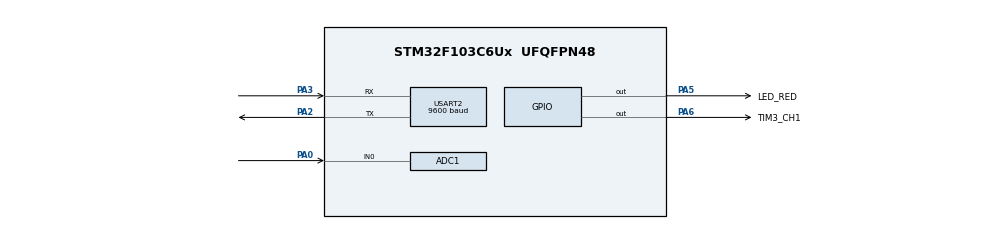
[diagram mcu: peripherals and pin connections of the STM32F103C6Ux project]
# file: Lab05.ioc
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ADC1.Channel-0\#ChannelRegularConversion=ADC_CHANNEL_0
ADC1.ContinuousConvMode=ENABLE
ADC1.NbrOfConversionFlag=1
ADC1.Rank-0\#ChannelRegularConversion=1
ADC1.SamplingTime-0\#ChannelRegularConversion=ADC_SAMPLETIME_1CYCLE_5
ADC1.master=1
Mcu.Family=STM32F1
Mcu.Name=STM32F103C6Ux
Mcu.Package=UFQFPN48
NVIC.PriorityGroup=NVIC_PRIORITYGROUP_4
NVIC.USART2_IRQn=true\:0\:0\:false\:false\:true\:true\:true
PA0-WKUP.Signal=ADCx_IN0
PA2.Mode=Asynchronous
PA2.Signal=USART2_TX
PA3.Mode=Asynchronous
PA3.Signal=USART2_RX
PA5.GPIO_Label=LED_RED
PA5.Signal=GPIO_Output
PA6.GPIO_Label=TIM3_CH1
PA6.Signal=GPIO_Output
ProjectManager.HeapSize=0x200
ProjectManager.StackSize=0x400
ProjectManager.TargetToolchain=STM32CubeIDE
RCC.APB1Freq_Value=8000000
RCC.APB2Freq_Value=8000000
SH.ADCx_IN0.0=ADC1_IN0,IN0
USART2.BaudRate=9600
USART2.VirtualMode=VM_ASYNC
VP_SYS_VS_ND.Mode=No_Debug
board=custom

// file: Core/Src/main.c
/* USER CODE BEGIN Header */
/**
  ******************************************************************************
  * @file           : main.c
  * @brief          : Main program body
  ******************************************************************************
  * @attention
  *
  * <h2><center>&copy; Copyright (c) 2023 STMicroelectronics.
  * All rights reserved.</center></h2>
  *
  * This software component is licensed by ST under BSD 3-Clause license,
  * the "License"; You may not use this file except in compliance with the
  * License. You may obtain a copy of the License at:
  *                        opensource.org/licenses/BSD-3-Clause
  *
  ******************************************************************************
  */
/* USER CODE END Header */
#include "main.h"

ADC_HandleTypeDef hadc1;

UART_HandleTypeDef huart2;

void SystemClock_Config(void);
static void MX_GPIO_Init(void);
static void MX_ADC1_Init(void);
static void MX_USART2_UART_Init(void);

/* USER CODE BEGIN 0 */
#define  MAX_BUFFER_SIZE 30
uint8_t temp = 0;
uint8_t buffer[MAX_BUFFER_SIZE];
uint8_t index_buffer = 0;
uint8_t buffer_flag = 0;

void HAL_UART_RxCPltCallback(UART_HandleTypeDef *huart){
	if(huart -> Instance == USART2){
		HAL_UART_Transmit(&huart2, &temp, 1, 50);
		buffer[index_buffer++] = temp;
		if(index_buffer == MAX_BUFFER_SIZE) index_buffer = 0;
		buffer_flag = 1;
		HAL_UART_Receive_IT(&huart2, &temp, 1);
	}
}

uint8_t str[20];
uint32_t ADC_value = 1234;
// init state for fsm command_parser_fsm1
uint8_t start_state = INIT;
// init state for fsm command_parser_fsm2
uint8_t end_state = INIT;
// init state for fsm uart_communiation_fsm
uint8_t status_communication = INIT;
//Check !RST# message
void command_parser_fsm1(){
	uint8_t index = index_buffer;
	if(index_buffer == 0) index = MAX_BUFFER_SIZE - 1;
	if(index_buffer != 0) index = index_buffer - 1;
	switch (start_state){
		case INIT:
			if(buffer[index] == '!') start_state = _;
			break;
		case _:
			if(buffer[index] = '!') start_state = _;
			if(buffer[index] == 'R') start_state =_R;
			if(buffer[index]!='!'&&buffer[index]!='R') start_state=INIT;
			break;
		case _R:
			if(buffer[index] == 'S') start_state =_RS;
			if(buffer[index] = '!') start_state = _;
			if(buffer[index]!='!'&&buffer[index]!='S') start_state=INIT;
			break;
		case _RS:
			if(buffer[index] == 'T') start_state =_RST;
			if(buffer[index] = '!') start_state = _;
			if(buffer[index]!='!'&&buffer[index]!='T') start_state=INIT;
			break;
		case _RST:
			if(buffer[index] == '#') {
				start_state =_RST_;
				status_communication=SEND;
			}
			if(buffer[index] = '!') start_state = _;
			if(buffer[index]!='!'&&buffer[index]!='#') start_state=INIT;
			break;
		case _RST_:
			if(buffer[index]=='!') start_state=_;
			if(buffer[index]!='!') start_state=INIT;
			break;
		default:
			break;
	}

}
//Check !OK# message
void  command_parser_fsm2(){
	uint8_t index2;
	if(index_buffer == 0) index2 = MAX_BUFFER_SIZE - 1;
	if(index_buffer != 0) index2 = index_buffer - 1;
	switch(end_state){
		case INIT:
			if(buffer[index2] == '!') end_state = _;
			break;
		case _:
			if(buffer[index2]=='!') end_state=_;
			else if(buffer[index2]=='O') end_state=_O;
			else end_state=INIT;
			break;
		case _O:
			if(buffer[index2]=='K') end_state=_OK;
			if(buffer[index2]!='K') end_state=INIT;
			break;
		case _OK:
			if(buffer[index2]=='#'){
				end_state=_OK_;
				status_communication=END;
			}
			if(buffer[index2]!='#') end_state=INIT;
			break;
		case _OK_:
			if(buffer[index2]=='!') end_state=_;
			if(buffer[index2]!='!') end_state=INIT;
			break;
		default:
			break;
	}
}
 //communication with console
void uart_communiation_fsm (){
	switch(status_communication){
	  case INIT:
		  break;
	  case SEND:
		  if(timer1_flag==1){
		  		HAL_UART_Transmit(&huart2, (void*)str, sprintf(str, "\r\n!%ld#\r\n",ADC_value), 1000);
		  		HAL_GPIO_TogglePin(LED_RED_GPIO_Port, LED_RED_Pin);
		  		setTimer1(3000);
		  }
		  break;
	  case END:
		  HAL_UART_Transmit(&huart2, (void*)str, sprintf(str, "\r\n%s\r\n","END"), 1000);
		  status_communication=INIT;
		  break;
	  default:
		  break;
	  }
 }
/* USER CODE END 0 */

int main(void)
{

  /* MCU Configuration--------------------------------------------------------*/

  /* Reset of all peripherals, Initializes the Flash interface and the Systick. */
  HAL_Init();

  /* Configure the system clock */
  SystemClock_Config();

  /* Initialize all configured peripherals */
  MX_GPIO_Init();
  MX_ADC1_Init();
  MX_USART2_UART_Init();
  /* USER CODE BEGIN 2 */
  HAL_UART_Receive_IT(&huart2, &temp, 1);
  /* USER CODE END 2 */

  /* Infinite loop */
  /* USER CODE BEGIN WHILE */
  setTimer1(10);
  while(1)
  {
    /* USER CODE END WHILE */

    /* USER CODE BEGIN 3 */
	  if(buffer_flag == 1) {
	 		  command_parser_fsm1() ;
	 		  command_parser_fsm2() ;
	 		  buffer_flag = 0;
	  }
	  uart_communiation_fsm ();
  }
  /* USER CODE END 3 */
}

void SystemClock_Config(void)
{
  RCC_OscInitTypeDef RCC_OscInitStruct = {0};
  RCC_ClkInitTypeDef RCC_ClkInitStruct = {0};
  RCC_PeriphCLKInitTypeDef PeriphClkInit = {0};

  /** Initializes the RCC Oscillators according to the specified parameters
  * in the RCC_OscInitTypeDef structure.
  */
  RCC_OscInitStruct.OscillatorType = RCC_OSCILLATORTYPE_HSI;
  RCC_OscInitStruct.HSIState = RCC_HSI_ON;
  RCC_OscInitStruct.HSICalibrationValue = RCC_HSICALIBRATION_DEFAULT;
  RCC_OscInitStruct.PLL.PLLState = RCC_PLL_NONE;
  if (HAL_RCC_OscConfig(&RCC_OscInitStruct) != HAL_OK)
  {
    Error_Handler();
  }
  /** Initializes the CPU, AHB and APB buses clocks
  */
  RCC_ClkInitStruct.ClockType = RCC_CLOCKTYPE_HCLK|RCC_CLOCKTYPE_SYSCLK
                              |RCC_CLOCKTYPE_PCLK1|RCC_CLOCKTYPE_PCLK2;
  RCC_ClkInitStruct.SYSCLKSource = RCC_SYSCLKSOURCE_HSI;
  RCC_ClkInitStruct.AHBCLKDivider = RCC_SYSCLK_DIV1;
  RCC_ClkInitStruct.APB1CLKDivider = RCC_HCLK_DIV1;
  RCC_ClkInitStruct.APB2CLKDivider = RCC_HCLK_DIV1;

  if (HAL_RCC_ClockConfig(&RCC_ClkInitStruct, FLASH_LATENCY_0) != HAL_OK)
  {
    Error_Handler();
  }
  PeriphClkInit.PeriphClockSelection = RCC_PERIPHCLK_ADC;
  PeriphClkInit.AdcClockSelection = RCC_ADCPCLK2_DIV2;
  if (HAL_RCCEx_PeriphCLKConfig(&PeriphClkInit) != HAL_OK)
  {
    Error_Handler();
  }
}

static void MX_ADC1_Init(void)
{

  ADC_ChannelConfTypeDef sConfig = {0};

  /** Common config
  */
  hadc1.Instance = ADC1;
  hadc1.Init.ScanConvMode = ADC_SCAN_DISABLE;
  hadc1.Init.ContinuousConvMode = ENABLE;
  hadc1.Init.DiscontinuousConvMode = DISABLE;
  hadc1.Init.ExternalTrigConv = ADC_SOFTWARE_START;
  hadc1.Init.DataAlign = ADC_DATAALIGN_RIGHT;
  hadc1.Init.NbrOfConversion = 1;
  if (HAL_ADC_Init(&hadc1) != HAL_OK)
  {
    Error_Handler();
  }
  /** Configure Regular Channel
  */
  sConfig.Channel = ADC_CHANNEL_0;
  sConfig.Rank = ADC_REGULAR_RANK_1;
  sConfig.SamplingTime = ADC_SAMPLETIME_1CYCLE_5;
  if (HAL_ADC_ConfigChannel(&hadc1, &sConfig) != HAL_OK)
  {
    Error_Handler();
  }

}

static void MX_USART2_UART_Init(void)
{

  huart2.Instance = USART2;
  huart2.Init.BaudRate = 9600;
  huart2.Init.WordLength = UART_WORDLENGTH_8B;
  huart2.Init.StopBits = UART_STOPBITS_1;
  huart2.Init.Parity = UART_PARITY_NONE;
  huart2.Init.Mode = UART_MODE_TX_RX;
  huart2.Init.HwFlowCtl = UART_HWCONTROL_NONE;
  huart2.Init.OverSampling = UART_OVERSAMPLING_16;
  if (HAL_UART_Init(&huart2) != HAL_OK)
  {
    Error_Handler();
  }

}

static void MX_GPIO_Init(void)
{
  GPIO_InitTypeDef GPIO_InitStruct = {0};

  /* GPIO Ports Clock Enable */
  __HAL_RCC_GPIOA_CLK_ENABLE();

  /*Configure GPIO pin Output Level */
  HAL_GPIO_WritePin(GPIOA, LED_RED_Pin|TIM3_CH1_Pin, GPIO_PIN_RESET);

  /*Configure GPIO pins : LED_RED_Pin TIM3_CH1_Pin */
  GPIO_InitStruct.Pin = LED_RED_Pin|TIM3_CH1_Pin;
  GPIO_InitStruct.Mode = GPIO_MODE_OUTPUT_PP;
  GPIO_InitStruct.Pull = GPIO_NOPULL;
  GPIO_InitStruct.Speed = GPIO_SPEED_FREQ_LOW;
  HAL_GPIO_Init(GPIOA, &GPIO_InitStruct);

}

void Error_Handler(void)
{
  __disable_irq();
  while (1)
  {
  }
}

/************************ (C) COPYRIGHT STMicroelectronics *****END OF FILE****/
